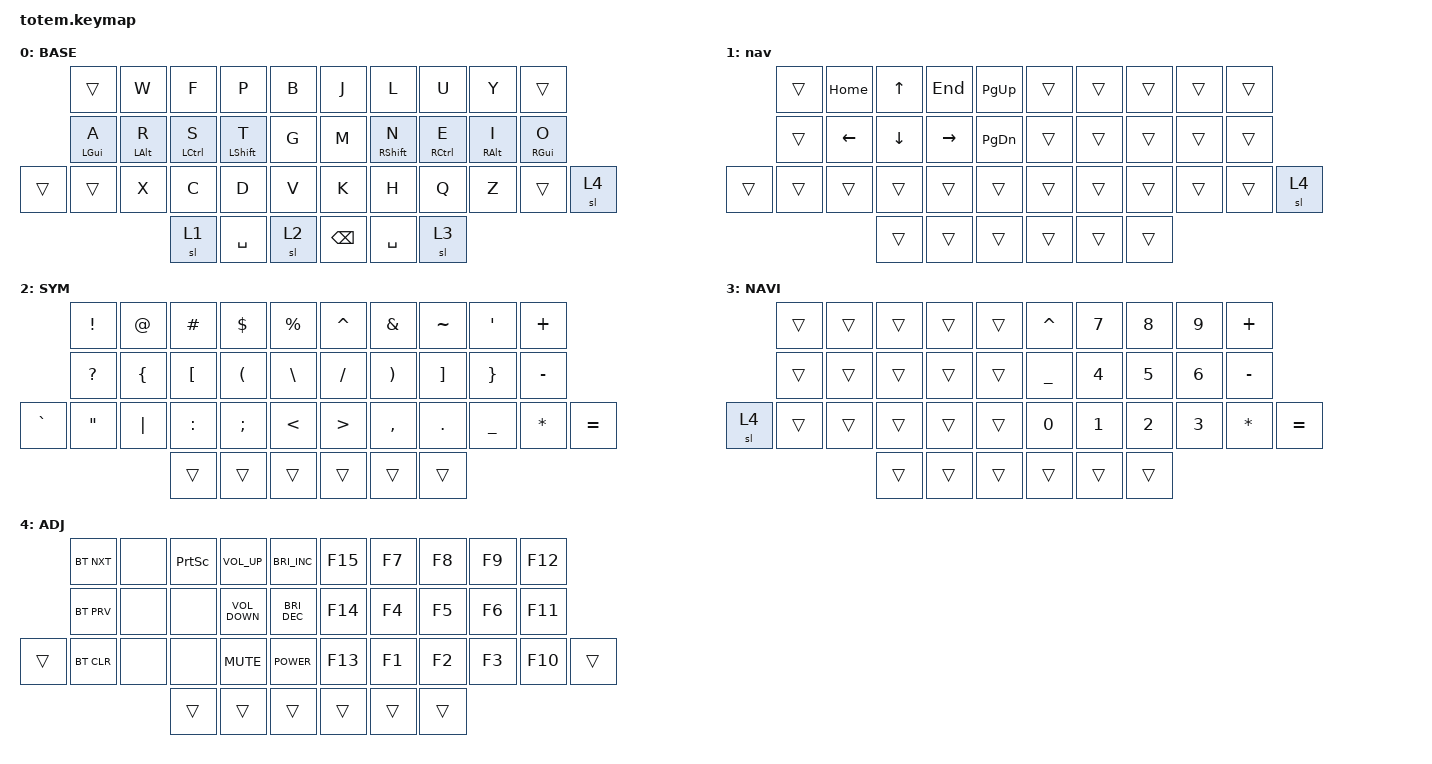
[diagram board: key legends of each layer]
//
//                                                        ▀▀▀▀▀     ▀▀▀▀▀          ▀▀█▀▀
//                                                        ▄▀▀▀▄  ▄  ▄▀▀▀▄  ▄  ▄▀▀▀▄  █  ▄▀▀▀▄
//                                                        █   █  █  █   █  █  █   █  █  █   █
//                                                         ▀▀▀   █   ▀▀▀   █   ▀▀▀   ▀   ▀▀▀
//                                                               █      ▄▄▄█▄▄▄    █   █  
//                                                               ▀      █  █  █     █▄█
//                                                             ▀▀▀▀▀    █  █  █      ▀
//                                                                      ▀  ▀  ▀
//
// ▄▄▄▄▄▄▄▄▄▄▄▄▄▄▄▄▄▄▄▄▄▄▄▄▄▄▄▄▄▄▄▄▄▄▄▄▄▄▄▄▄▄▄▄▄▄▄▄▄▄▄▄▄▄▄▄▄▄▄▄▄▄▄▄▄▄▄▄▄▄▄▄▄▄▄▄▄▄▄▄▄▄▄▄▄▄▄▄▄▄▄▄▄▄▄▄▄▄▄▄▄▄▄▄▄▄▄▄▄▄▄▄▄▄▄▄▄▄▄▄▄▄▄▄▄▄▄▄▄▄▄▄▄▄▄▄▄▄▄▄▄▄▄▄▄▄▄▄▄

#include <behaviors.dtsi>
#include <dt-bindings/zmk/bt.h>
#include <dt-bindings/zmk/keys.h>

#define BASE 0
#define NAV  1
#define SYM  2
#define ADJ  3
#define TVP1 4
#define TVP2 5

&mt {
    quick-tap-ms = <100>;
    global-quick-tap;
    flavor = "tap-preferred";
    tapping-term-ms = <200>;
};

/ {
    combos {
        compatible = "zmk,combos";

        combo_esc {
            timeout-ms = <50>;
            key-positions = <0 1>;
            bindings = <&kp ESC>;
        };

        enter_left {
            bindings = <&kp ENTER>;
            key-positions = <11 12 13>;
        };

        enter_right {
            bindings = <&kp ENTER>;
            key-positions = <16 17 18>;
        };

        canc_left {
            bindings = <&kp DELETE>;
            key-positions = <2 13>;
        };

        canc_right {
            bindings = <&kp DEL>;
            key-positions = <16 7>;
        };

        tab_left {
            bindings = <&kp TAB>;
            key-positions = <12 24 11>;
        };

        tab_right {
            bindings = <&kp TAB>;
            key-positions = <27 17 18>;
        };

        esc_right {
            bindings = <&kp ESC>;
            key-positions = <8 9>;
        };

        shifttab_left {
            bindings = <&kp LS(TAB)>;
            key-positions = <11 12 3>;
        };

        shifttab_right {
            bindings = <&kp RS(TAB)>;
            key-positions = <6 17 18>;
        };

        del_right {
            bindings = <&kp DEL>;
            key-positions = <28 29>;
        };
    };

    macros {
        gif: gif {
            label = "giphy";
            compatible = "zmk,behavior-macro";
            #binding-cells = <0>;
            bindings =
                <&macro_press>,
                <&kp LSHFT>,
                <&macro_tap>,
                <&kp N2>,
                <&macro_release>,
                <&kp LSHFT>,
                <&macro_tap>,
                <&kp G &kp I &kp F>;
        };
    };

    keymap {
        compatible = "zmk,keymap";

        // ▄▄▄▄▄▄▄▄▄▄▄▄▄▄▄▄▄▄▄▄▄▄▄▄▄▄▄▄▄▄▄▄▄▄▄▄▄▄▄▄▄▄▄▄▄▄▄▄▄▄▄▄▄▄▄▄▄▄▄▄▄▄▄▄▄▄▄▄▄▄▄▄▄▄▄▄▄▄▄▄▄▄▄▄▄▄▄▄▄▄▄▄▄▄▄▄▄▄▄▄▄▄▄▄▄▄▄▄▄▄▄▄▄▄▄▄▄▄▄▄▄▄▄▄▄▄▄▄▄▄▄▄▄▄▄▄▄▄▄▄▄▄▄▄▄▄▄▄▄

        base_layer {
            // ┏━━━━━━━━━━━━━━━━━━━━━━━━━━━━━━━━━━━━━━━┓

            label = "BASE";

            // ┗━━━━━━━━━━━━━━━━━━━━━━━━━━━━━━━━━━━━━━━┛
            //             ┏━━━━━━━━━━━┳━━━━━━━━━━━┳━━━━━━━━━━━┳━━━━━━━━━━━┳━━━━━━━━━━━┓   ┏━━━━━━━━━━━┳━━━━━━━━━━━┳━━━━━━━━━━━┳━━━━━━━━━━━┳━━━━━━━━━━━┓
            //             ┃     Q     ┃     W     ┃     F     ┃     P     ┃     G     ┃   ┃     J     ┃     L     ┃     U     ┃     Y     ┃     ;     ┃
            //             ┣━━━━━━━━━━━╋━━━━━━━━━━━╋━━━━━━━━━━━╋━━━━━━━━━━━╋━━━━━━━━━━━┫   ┣━━━━━━━━━━━╋━━━━━━━━━━━╋━━━━━━━━━━━╋━━━━━━━━━━━╋━━━━━━━━━━━┫
            //             ┃     A     ┃     R     ┃     S     ┃     T     ┃     D     ┃   ┃     H     ┃     N     ┃     E     ┃     I     ┃     O     ┃
            // ┏━━━━━━━━━━━╋━━━━━━━━━━━╋━━━━━━━━━━━╋━━━━━━━━━━━╋━━━━━━━━━━━╋━━━━━━━━━━━┫   ┣━━━━━━━━━━━╋━━━━━━━━━━━╋━━━━━━━━━━━╋━━━━━━━━━━━╋━━━━━━━━━━━╋━━━━━━━━━━━┓
            // ┃     Q     ┃     Z     ┃     X     ┃     C     ┃     V     ┃     B     ┃   ┃     K     ┃     M     ┃     ,     ┃     .     ┃     /     ┃     \     ┃
            // ┗━━━━━━━━━━━┻━━━━━━━━━━━┻━━━━━━━━━━━╋━━━━━━━━━━━╋━━━━━━━━━━━╋━━━━━━━━━━━┫   ┣━━━━━━━━━━━╋━━━━━━━━━━━╋━━━━━━━━━━━╋━━━━━━━━━━━┻━━━━━━━━━━━┻━━━━━━━━━━━┛
            //                                     ┃    DEL    ┃    TAB    ┃    SPC    ┃   ┃   ENTER   ┃           ┃   BSPC    ┃
            //                                     ┗━━━━━━━━━━━┻━━━━━━━━━━━┻━━━━━━━━━━━┛   ┗━━━━━━━━━━━┻━━━━━━━━━━━┻━━━━━━━━━━━┛

            bindings = <
        &trans      &kp W       &kp F        &kp P        &kp B    &kp J          &kp L        &kp U        &kp Y       &trans
        &mt LGUI A  &mt LALT R  &mt LCTRL S  &mt LSHFT T  &kp G    &kp M          &mt RSHFT N  &mt RCTRL E  &mt RALT I  &mt RGUI O
&trans  &trans      &kp X       &kp C        &kp D        &kp V    &kp K          &kp H        &kp Q        &kp Z       &trans      &sl 4
                                &sl 1        &kp SPACE    &sl 2    &kp BACKSPACE  &kp SPACE    &sl 3
            >;
        };

        nav {
            bindings = <
        &trans  &kp HOME  &kp UP    &kp END    &kp PG_UP    &trans  &trans  &trans  &trans  &trans
        &trans  &kp LEFT  &kp DOWN  &kp RIGHT  &kp PG_DN    &trans  &trans  &trans  &trans  &trans
&trans  &trans  &trans    &trans    &trans     &trans       &trans  &trans  &trans  &trans  &trans  &sl 4
                          &trans    &trans     &trans       &trans  &trans  &trans
            >;
        };

        sim_layer {
            // ┏━━━━━━━━━━━━━━━━━━━━━━━━━━━━━━━━━━━━━━━┓

            label = "SYM";

            // ┗━━━━━━━━━━━━━━━━━━━━━━━━━━━━━━━━━━━━━━━┛
            //             ┏━━━━━━━━━━━┳━━━━━━━━━━━┳━━━━━━━━━━━┳━━━━━━━━━━━┳━━━━━━━━━━━┓   ┏━━━━━━━━━━━┳━━━━━━━━━━━┳━━━━━━━━━━━┳━━━━━━━━━━━┳━━━━━━━━━━━┓
            //             ┃     !     ┃     @     ┃     #     ┃     $     ┃     %     ┃   ┃     ˆ     ┃     &     ┃     Ü     ┃     '     ┃     "     ┃
            //             ┣━━━━━━━━━━━╋━━━━━━━━━━━╋━━━━━━━━━━━╋━━━━━━━━━━━╋━━━━━━━━━━━┫   ┣━━━━━━━━━━━╋━━━━━━━━━━━╋━━━━━━━━━━━╋━━━━━━━━━━━╋━━━━━━━━━━━┫
            //             ┃     Ä     ┃           ┃    SZ     ┃           ┃           ┃   ┃   MUTE    ┃   YEN     ┃   EURO    ┃  POUND    ┃     Ö     ┃
            // ┏━━━━━━━━━━━╋━━━━━━━━━━━╋━━━━━━━━━━━╋━━━━━━━━━━━╋━━━━━━━━━━━╋━━━━━━━━━━━┫   ┣━━━━━━━━━━━╋━━━━━━━━━━━╋━━━━━━━━━━━╋━━━━━━━━━━━╋━━━━━━━━━━━╋━━━━━━━━━━━┓
            // ┃           ┃  EMAIL1   ┃  EMAIL2   ┃           ┃           ┃           ┃   ┃   VOL-    ┃   VOL+    ┃   LAST    ┃   NEXT    ┃     \     ┃           ┃
            // ┗━━━━━━━━━━━┻━━━━━━━━━━━┻━━━━━━━━━━━╋━━━━━━━━━━━╋━━━━━━━━━━━╋━━━━━━━━━━━┫   ┣━━━━━━━━━━━╋━━━━━━━━━━━╋━━━━━━━━━━━╋━━━━━━━━━━━┻━━━━━━━━━━━┻━━━━━━━━━━━┛
            //                                     ┃           ┃    GIF    ┃    ADJ    ┃   ┃           ┃           ┃           ┃
            //                                     ┗━━━━━━━━━━━┻━━━━━━━━━━━┻━━━━━━━━━━━┛   ┗━━━━━━━━━━━┻━━━━━━━━━━━┻━━━━━━━━━━━┛

            bindings = <
           &kp EXCL   &kp AT    &kp HASH   &kp DLLR  &kp PRCNT        &kp CARET         &kp AMPS   &kp TILDE  &kp SQT          &kp PLUS
           &kp QMARK  &kp LBRC  &kp LBKT   &kp LPAR  &kp BSLH         &kp SLASH         &kp RPAR   &kp RBKT   &kp RIGHT_BRACE  &kp MINUS
&kp GRAVE  &kp DQT    &kp PIPE  &kp COLON  &kp SEMI  &kp LESS_THAN    &kp GREATER_THAN  &kp COMMA  &kp DOT    &kp UNDERSCORE   &kp ASTRK  &kp EQUAL
                                &trans     &trans    &trans           &trans            &trans     &trans
            >;
        };

        numpad {
            // ┏━━━━━━━━━━━━━━━━━━━━━━━━━━━━━━━━━━━━━━━┓

            label = "NAVI";

            // ┗━━━━━━━━━━━━━━━━━━━━━━━━━━━━━━━━━━━━━━━┛
            //             ┏━━━━━━━━━━━┳━━━━━━━━━━━┳━━━━━━━━━━━┳━━━━━━━━━━━┳━━━━━━━━━━━┓   ┏━━━━━━━━━━━┳━━━━━━━━━━━┳━━━━━━━━━━━┳━━━━━━━━━━━┳━━━━━━━━━━━┓
            //             ┃           ┃           ┃     UP    ┃           ┃     {     ┃   ┃     }     ┃     7     ┃     8     ┃     9     ┃     +     ┃
            //             ┣━━━━━━━━━━━╋━━━━━━━━━━━╋━━━━━━━━━━━╋━━━━━━━━━━━╋━━━━━━━━━━━┫   ┣━━━━━━━━━━━╋━━━━━━━━━━━╋━━━━━━━━━━━╋━━━━━━━━━━━╋━━━━━━━━━━━┫
            //             ┃   SHIFT   ┃   LEFT    ┃    DOWN   ┃   RIGHT   ┃     [     ┃   ┃     ]     ┃     4     ┃     5     ┃     6     ┃     -     ┃
            // ┏━━━━━━━━━━━╋━━━━━━━━━━━╋━━━━━━━━━━━╋━━━━━━━━━━━╋━━━━━━━━━━━╋━━━━━━━━━━━┫   ┣━━━━━━━━━━━╋━━━━━━━━━━━╋━━━━━━━━━━━╋━━━━━━━━━━━╋━━━━━━━━━━━╋━━━━━━━━━━━┓
            // ┃           ┃           ┃   P UP    ┃  C LOCK   ┃  P DOWN   ┃     (     ┃   ┃     )     ┃     1     ┃     2     ┃     3     ┃     *     ┃           ┃
            // ┗━━━━━━━━━━━┻━━━━━━━━━━━┻━━━━━━━━━━━╋━━━━━━━━━━━╋━━━━━━━━━━━╋━━━━━━━━━━━┫   ┣━━━━━━━━━━━╋━━━━━━━━━━━╋━━━━━━━━━━━╋━━━━━━━━━━━┻━━━━━━━━━━━┻━━━━━━━━━━━┛
            //                                     ┃           ┃    TAB    ┃    SPC    ┃   ┃    DEL    ┃     0     ┃           ┃
            //                                     ┗━━━━━━━━━━━┻━━━━━━━━━━━┻━━━━━━━━━━━┛   ┗━━━━━━━━━━━┻━━━━━━━━━━━┻━━━━━━━━━━━┛

            bindings = <
       &trans  &trans  &trans  &trans  &trans    &kp CARET       &kp N7        &kp NUMBER_8  &kp NUMBER_9  &kp PLUS
       &trans  &trans  &trans  &trans  &trans    &kp UNDERSCORE  &kp NUMBER_4  &kp NUMBER_5  &kp NUMBER_6  &kp MINUS
&sl 4  &trans  &trans  &trans  &trans  &trans    &kp NUMBER_0    &kp NUMBER_1  &kp NUMBER_2  &kp NUMBER_3  &kp STAR   &kp EQUAL
                       &trans  &trans  &trans    &trans          &trans        &trans
            >;
        };

        adjust_layer {
            // ┏━━━━━━━━━━━━━━━━━━━━━━━━━━━━━━━━━━━━━━━┓

            label = "ADJ";

            // ┗━━━━━━━━━━━━━━━━━━━━━━━━━━━━━━━━━━━━━━━┛
            //             ┏━━━━━━━━━━━┳━━━━━━━━━━━┳━━━━━━━━━━━┳━━━━━━━━━━━┳━━━━━━━━━━━┓   ┏━━━━━━━━━━━┳━━━━━━━━━━━┳━━━━━━━━━━━┳━━━━━━━━━━━┳━━━━━━━━━━━┓
            //             ┃   RESET   ┃ BT CLEAR  ┃  OUT TOG  ┃           ┃           ┃   ┃           ┃    F7     ┃    F8     ┃    F9     ┃    F12    ┃
            //             ┣━━━━━━━━━━━╋━━━━━━━━━━━╋━━━━━━━━━━━╋━━━━━━━━━━━╋━━━━━━━━━━━┫   ┣━━━━━━━━━━━╋━━━━━━━━━━━╋━━━━━━━━━━━╋━━━━━━━━━━━╋━━━━━━━━━━━┫
            //             ┃ BOOTLOAD  ┃ BT NEXT   ┃           ┃           ┃           ┃   ┃           ┃    F4     ┃    F5     ┃    F6     ┃    F11    ┃
            // ┏━━━━━━━━━━━╋━━━━━━━━━━━╋━━━━━━━━━━━╋━━━━━━━━━━━╋━━━━━━━━━━━╋━━━━━━━━━━━┫   ┣━━━━━━━━━━━╋━━━━━━━━━━━╋━━━━━━━━━━━╋━━━━━━━━━━━╋━━━━━━━━━━━╋━━━━━━━━━━━┓
            // ┃           ┃           ┃ BT PREV   ┃           ┃           ┃           ┃   ┃           ┃    F1     ┃    F2     ┃    F3     ┃    F10    ┃           ┃
            // ┗━━━━━━━━━━━┻━━━━━━━━━━━┻━━━━━━━━━━━╋━━━━━━━━━━━╋━━━━━━━━━━━╋━━━━━━━━━━━┫   ┣━━━━━━━━━━━╋━━━━━━━━━━━╋━━━━━━━━━━━╋━━━━━━━━━━━┻━━━━━━━━━━━┻━━━━━━━━━━━┛
            //                                     ┃           ┃           ┃           ┃   ┃           ┃           ┃           ┃
            //                                     ┗━━━━━━━━━━━┻━━━━━━━━━━━┻━━━━━━━━━━━┛   ┗━━━━━━━━━━━┻━━━━━━━━━━━┻━━━━━━━━━━━┛

            bindings = <
        &bt BT_NXT  &none  &kp PRINTSCREEN  &kp C_VOLUME_UP    &kp C_BRIGHTNESS_INC    &kp F15  &kp F7  &kp F8  &kp F9  &kp F12
        &bt BT_PRV  &none  &none            &kp C_VOLUME_DOWN  &kp C_BRIGHTNESS_DEC    &kp F14  &kp F4  &kp F5  &kp F6  &kp F11
&trans  &bt BT_CLR  &none  &none            &kp K_MUTE         &kp C_POWER             &kp F13  &kp F1  &kp F2  &kp F3  &kp F10  &trans
                           &trans           &trans             &trans                  &trans   &trans  &trans
            >;
        };

        // ▄▄▄▄▄▄▄▄▄▄▄▄▄▄▄▄▄▄▄▄▄▄▄▄▄▄▄▄▄▄▄▄▄▄▄▄▄▄▄▄▄▄▄▄▄▄▄▄▄▄▄▄▄▄▄▄▄▄▄▄▄▄▄▄▄▄▄▄▄▄▄▄▄▄▄▄▄▄▄▄▄▄▄▄▄▄▄▄▄▄▄▄▄▄▄▄▄▄▄▄▄▄▄▄▄▄▄▄▄▄▄▄▄▄▄▄▄▄▄▄▄▄▄▄▄▄▄▄▄▄▄▄▄▄▄▄▄▄▄▄▄▄▄▄▄▄▄▄▄
        // ▄▄▄▄▄▄▄▄▄▄▄▄▄▄▄▄▄▄▄▄▄▄▄▄▄▄▄▄▄▄▄▄▄▄▄▄▄▄▄▄▄▄▄▄▄▄▄▄▄▄▄▄▄▄▄▄▄▄▄▄▄▄▄▄▄▄▄▄▄▄▄▄▄▄▄▄▄▄▄▄▄▄▄▄▄▄▄▄▄▄▄▄▄▄▄▄▄▄▄▄▄▄▄▄▄▄▄▄▄▄▄▄▄▄▄▄▄▄▄▄▄▄▄▄▄▄▄▄▄▄▄▄▄▄▄▄▄▄▄▄▄▄▄▄▄▄▄▄▄
    };
};
